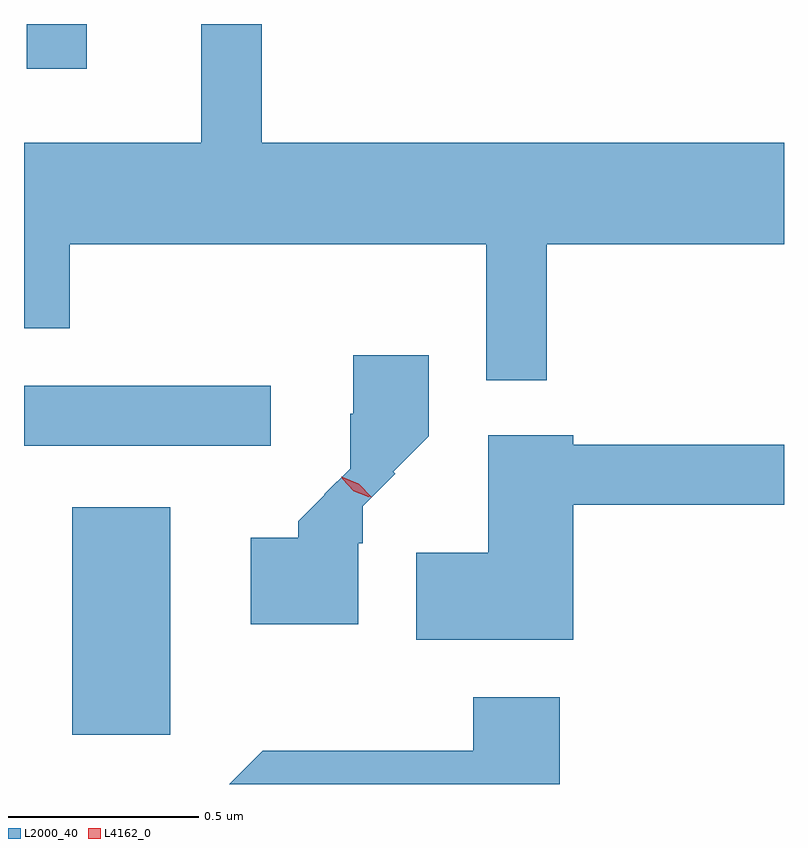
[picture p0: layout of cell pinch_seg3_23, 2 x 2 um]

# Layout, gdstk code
import gdstk
lib = gdstk.Library(unit=1e-6, precision=1e-09)
def R(c, l, rs):  # rectangles x0, y0, x1, y1
    for r in rs: c.add(gdstk.rectangle(r[:2], r[2:], *l))
def P(c, l, *ps):  # polygons
    for p in ps: c.add(gdstk.Polygon(p, *l))
L2000_40 = (2000, 40)
L4162_0 = (4162, 0)

pinch_seg3_23 = lib.new_cell('pinch_seg3_23')
R(pinch_seg3_23, L2000_40, [(856.136,1133.606,856.394,1134.204), (856.009,1134.366,856.658,1134.524), (856.016,1135.358,856.174,1135.476)])
P(pinch_seg3_23, L2000_40, [(857.384,1134.896),(858.009,1134.896),(858.009,1135.164),(856.634,1135.164),(856.634,1135.476),(856.476,1135.476),(856.476,1135.164),(856.009,1135.164),(856.009,1134.676),(856.129,1134.676),(856.129,1134.896),(857.226,1134.896),(857.226,1134.538),(857.384,1134.538)],
  [(856.889,1134.109),(856.9,1134.109),(856.9,1134.207),(856.986,1134.293),(856.981,1134.298),(857.074,1134.391),(857.074,1134.604),(856.876,1134.604),(856.876,1134.451),(856.867,1134.451),(856.867,1134.306),(856.799,1134.238),(856.801,1134.237),(856.731,1134.167),(856.731,1134.124),(856.606,1134.124),(856.606,1133.896),(856.889,1133.896)],
  [(857.454,1134.211),(858.009,1134.211),(858.009,1134.369),(857.454,1134.369),(857.454,1134.394),(857.231,1134.394),(857.231,1134.084),(857.041,1134.084),(857.041,1133.856),(857.454,1133.856)],
  [(857.419,1133.704),(857.191,1133.704),(857.191,1133.564),(856.637,1133.564),(856.549,1133.476),(857.419,1133.476)])
P(pinch_seg3_23, L4162_0, [(856.923,1134.23),(856.878,1134.25),(856.844,1134.284),(856.844,1134.285),(856.845,1134.285),(856.89,1134.266),(856.924,1134.231),(856.924,1134.23)],
  [(856.917,1134.23),(856.877,1134.247),(856.847,1134.279),(856.847,1134.28),(856.848,1134.28),(856.888,1134.263),(856.918,1134.231),(856.918,1134.23)])

lib.write_gds('pinch_seg3_23.gds')
